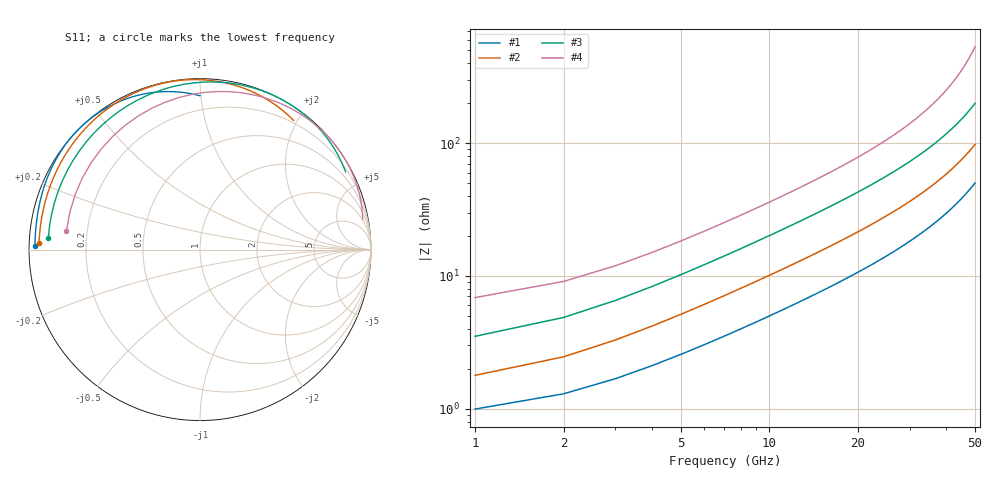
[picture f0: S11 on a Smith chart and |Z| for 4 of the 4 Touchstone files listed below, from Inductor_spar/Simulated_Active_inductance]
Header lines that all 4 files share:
# hz S ma R 50
! Port[1] TermG1
! 1 Port Network Data from SP1.SP block
! freq  magS11  angS11
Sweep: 1 GHz to 50 GHz
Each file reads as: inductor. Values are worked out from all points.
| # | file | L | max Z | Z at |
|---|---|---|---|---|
| 1 | 100nH_active_inductance.s1p | 78 pH | 50 ohm | 50 GHz |
| 2 | 200nH_active_inductance.s1p | 158 pH | - | - |
| 3 | 400nH_active_inductance.s1p | 314 pH | 199 ohm | 50 GHz |
| 4 | 800nH_active_inductance.s1p | 557 pH | 531 ohm | 50 GHz |
